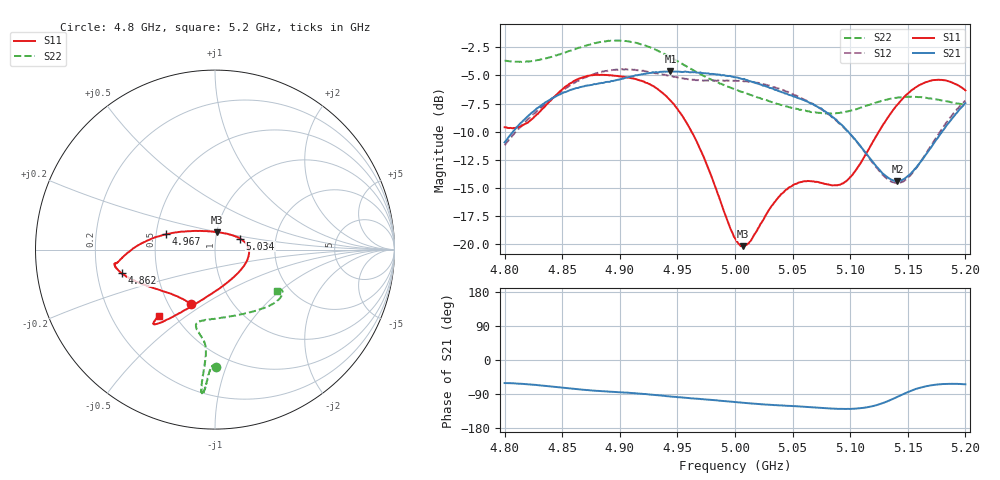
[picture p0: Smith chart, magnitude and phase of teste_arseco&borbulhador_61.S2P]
! Network Analyzer HP8722D
! Hewlett-Packard
! Data name: Linha & Wilkinson
! Saver's name: Rodrigo Anjos
! Comments: Teste da utilização de aquisição
! continua pelo VNA HP8722D
! Time and date: 15/4/2025 16:08
!  Frequency  S11  S21  S12  S22
# HZ  S  MA R 50
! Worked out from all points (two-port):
!   401 points, 4.8 GHz to 5.2 GHz, reference 50 ohm
!   highest |S21| = -4.62 dB at 4.944 GHz (marker M1); lowest = -14.4 dB at 5.141 GHz (marker M2)
!   |S21| within 3 dB of the highest: 4.832 GHz to 5.069 GHz (236.5 MHz wide, 4.78 % of centre); 5.198506 GHz to end of sweep
!   lowest |S11| = -20.2 dB at 5.007 GHz (marker M3), VSWR 1.22, Z = 50.2 + j9.87 ohm
!   |S11| at or under -10 dB: 4.962 GHz to 5.125 GHz (162.6 MHz wide, 3.22 % of centre)
!   |S22| runs from -8.4 to -1.9 dB; largest |S21 - S12| = 0.88
!   S11 on the Smith chart (normalised r, x): 4.8 GHz: 0.65, -0.44; 4.862 GHz: 0.31, -0.11; 4.967 GHz: 0.57, +0.11; 5.034 GHz: 1.31, +0.16; 5.2 GHz: 0.41, -0.40
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4.8e9  0.331 -113.8  0.2836 -60.9  0.2755 -175.1  0.6539 -89.5
4.819e9  0.345 -133.7  0.3661 -63.8  0.3532 -173.4  0.6491 -91.2
4.841e9  0.4407 -153.8  0.4445 -70.1  0.4438 -173.8  0.6803 -92.6
4.862e9  0.5362 -165.7  0.494 -76.5  0.5273 -176.6  0.7398 -93.6
4.867e9  0.5493 -167.7  0.5006 -78.2  0.5429 -177.4  0.7536 -93.8
4.9e9  0.5571 -172.2  0.5394 -84.9  0.5964 175.7  0.8031 -95.1
4.934e9  0.4845 -178.1  0.5808 -93.3  0.5737 172.0  0.7194 -95.6
4.944e9  0.4358 177.4  0.5872 -96.3  0.5578 171.9  0.6778 -95.3
4.967e9  0.2841 162.4  0.5789 -102.1  0.5358 173.9  0.5805 -95.1
5e9  0.1063 106.7  0.5517 -111.1  0.5333 176.3  0.487 -99.3
5.007e9  0.098 83.0  0.5416 -112.8  0.5305 176.1  0.4738 -100.9
5.014e9  0.1041 60.7  0.5287 -114.7  0.5258 176.3  0.459 -102.5
5.034e9  0.1531 23.6  0.4874 -119.1  0.4988 175.0  0.4244 -103.9
5.05e9  0.1826 6.7  0.4556 -121.6  0.4646 174.5  0.4028 -100.3
5.067e9  0.1905 -11.5  0.4204 -124.7  0.4218 174.0  0.3869 -91.9
5.087e9  0.1827 -44.0  0.3591 -128.6  0.3573 173.7  0.3818 -76.9
5.097e9  0.1912 -65.1  0.3207 -129.2  0.3197 174.4  0.3883 -68.4
5.134e9  0.3739 -116.3  0.1957 -106.8  0.1918 -159.8  0.4419 -43.4
5.141e9  0.4169 -120.1  0.1908 -96.9  0.1876 -148.6  0.4482 -40.2
5.153e9  0.4819 -125.1  0.2072 -80.9  0.2043 -130.1  0.452 -36.0
5.171e9  0.5338 -128.9  0.2731 -66.5  0.2782 -112.3  0.4427 -31.8
5.2e9  0.4824 -130.4  0.4235 -64.2  0.4348 -106.2  0.4157 -33.4
